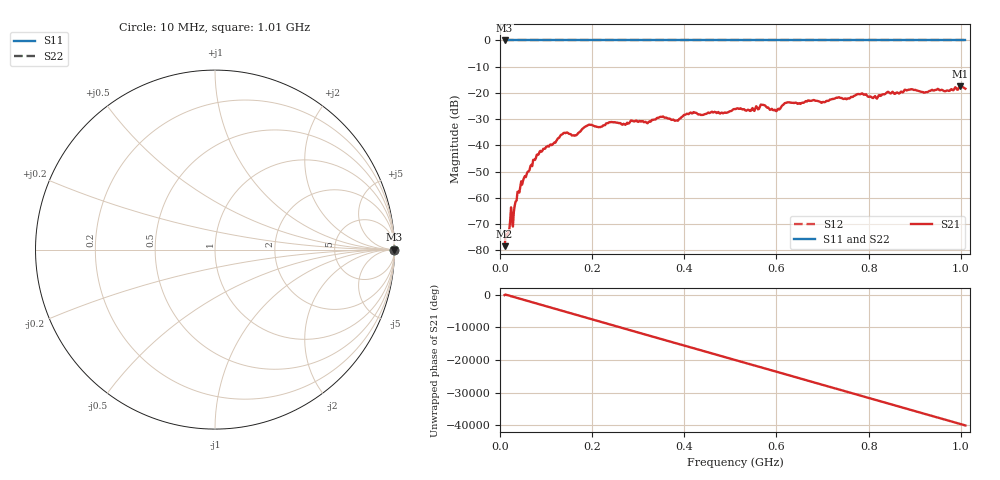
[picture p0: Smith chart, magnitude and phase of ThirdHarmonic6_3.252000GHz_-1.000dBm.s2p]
! 8/17/2025 10:00:47 AM
! C:\ANRITSUVNA\TEMP\TEMP.S2P
! CHANNEL.1
! TR.MEASUREMENT
! RAW.DATA
! RF.CORRECTION.OFF
! AVERAGING.OFF
! IF.BANDWIDTH: 5KHZ
! SWEEPTYPE:  FREQ.SWEEP(Linear)
! Reference Plane Port Info
! PORT:  PORT1  PORT2
! DISTANCE:  0  m  0  m
! TIME:  0  s  0  s
! PHASE.OFFSET:  0  deg.  0  deg.
! LOSS:  0  dB  0  dB
! REF.LOSS:  0  dB  0  dB
! REF.FREQ:  0  Hz  0  Hz
! Power Info
! POWER:  -20  dBm  -20  dBm
! EFF.POWER:  -20  dBm  -20  dBm
! SOURCE.ATTEN:  0  dB  0  dB
! TEST.ATTEN:  0  dB  0  dB
# GHZ S RI R 50.0
! FREQ.GHZ  S11RE  S11IM  S21RE  S21IM  S12RE  S12IM  S22RE  S22IM
!; PortSelection: Port_12
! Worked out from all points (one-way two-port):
!   501 points, 10 MHz to 1.01 GHz, reference 50 ohm
!   highest |S21| = -17.47 dB at 998 MHz (marker M1); lowest = -78.4 dB at 10 MHz (marker M2)
!   lowest |S11| = 0.0 dB at 10 MHz (marker M3)
!   |S11| at or under -10 dB: nowhere
!   |S22| runs from 0.0 to 0.0 dB; largest |S21 - S12| = 1.1
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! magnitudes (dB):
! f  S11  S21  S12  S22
! 10 MHz  0.0  -78.4  0.0  0.0
! 30 MHz  0.0  -65.4  0.0  0.0
! 42 MHz  0.0  -58.0  0.0  0.0
! 76 MHz  0.0  -45.5  0.0  0.0
! 136 MHz  0.0  -35.6  0.0  0.0
! 162 MHz  0.0  -36.3  0.0  0.0
! 178 MHz  0.0  -33.8  0.0  0.0
! 194 MHz  0.0  -32.1  0.0  0.0
! 344 MHz  0.0  -29.5  0.0  0.0
! 382 MHz  0.0  -30.5  0.0  0.0
! 416 MHz  0.0  -27.8  0.0  0.0
! 510 MHz  0.0  -26.1  0.0  0.0
! 548 MHz  0.0  -25.8  0.0  0.0
! 570 MHz  0.0  -24.6  0.0  0.0
! 598 MHz  0.0  -26.8  0.0  0.0
! 622 MHz  0.0  -23.7  0.0  0.0
! 678 MHz  0.0  -22.9  0.0  0.0
! 782 MHz  0.0  -20.5  0.0  0.0
! 814 MHz  0.0  -21.2  0.0  0.0
! 844 MHz  0.0  -19.7  0.0  0.0
! 998 MHz  0.0  -17.5  0.0  0.0
! 1.01 GHz  0.0  -18.4  0.0  0.0
